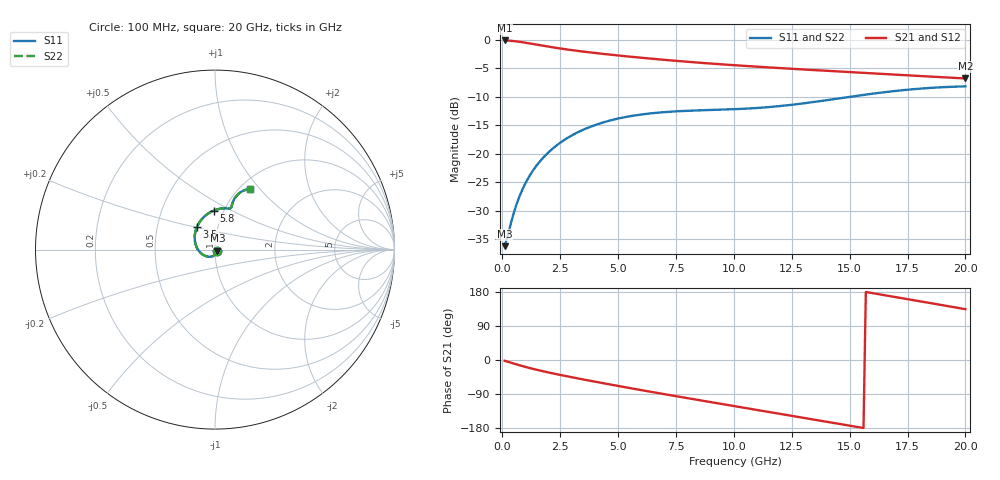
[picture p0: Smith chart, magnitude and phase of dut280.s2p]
! Created with skrf 1.9.0 (http://scikit-rf.org).
# GHz S RI R 50.0
!freq ReS11 ImS11 ReS21 ImS21 ReS12 ImS12 ReS22 ImS22
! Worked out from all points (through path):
!   200 points, 100 MHz to 20 GHz, reference 50 ohm
!   highest |S21| = -0.13 dB at 100 MHz (marker M1); lowest = -6.8 dB at 20 GHz (marker M2)
!   group delay of S21, straight-line fit = 29.9 ps
!   lowest |S11| = -36.3 dB at 100 MHz (marker M3), VSWR 1.03, Z = 51.4 - j0.694 ohm
!   |S11| at or under -10 dB: start of sweep to 15.06 GHz
!   |S22| runs from -36.3 to -8.2 dB; largest |S21 - S12| = 2.6e-15
!   S11 on the Smith chart (normalised r, x): 100 MHz: 1.03, -0.01; 3.5 GHz: 0.79, +0.21; 5.8 GHz: 0.90, +0.41; 20 GHz: 1.12, +0.89
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0.1  0.0138 -0.00675  0.9844 -0.0335  0.9844 -0.0335  0.0138 -0.00675
0.2  0.0119 -0.0134  0.981 -0.0666  0.981 -0.0666  0.0119 -0.0134
0.5  -0.00117 -0.0303  0.9588 -0.1613  0.9588 -0.1613  -0.00117 -0.0303
0.7  -0.0147 -0.0372  0.936 -0.2188  0.936 -0.2188  -0.0147 -0.0372
1  -0.0386 -0.0391  0.8936 -0.2951  0.8936 -0.2951  -0.0386 -0.0391
1.3  -0.0624 -0.0312  0.8456 -0.3595  0.8456 -0.3595  -0.0624 -0.0312
1.7  -0.0885 -0.00923  0.7788 -0.4295  0.7788 -0.4295  -0.0885 -0.00923
2.2  -0.1079 0.0285  0.6957 -0.4978  0.6957 -0.4978  -0.1079 0.0285
2.8  -0.1128 0.0769  0.5992 -0.5605  0.5992 -0.5605  -0.1128 0.0769
3.5  -0.1 0.1276  0.4903 -0.6146  0.4903 -0.6146  -0.1 0.1276
4.6  -0.059 0.1847  0.3249 -0.6664  0.3249 -0.6664  -0.059 0.1847
5.8  -0.00826 0.2173  0.1542 -0.6832  0.1542 -0.6832  -0.00826 0.2173
6.8  0.0281 0.2278  0.0228 -0.6705  0.0228 -0.6705  0.0281 0.2278
8.4  0.0674 0.2295  -0.1621 -0.6094  -0.1621 -0.6094  0.0674 0.2295
10.1  0.0862 0.2301  -0.32 -0.5023  -0.32 -0.5023  0.0862 0.2301
11.8  0.0926 0.2419  -0.434 -0.3638  -0.434 -0.3638  0.0926 0.2419
13.4  0.0994 0.2648  -0.4974 -0.2154  -0.4974 -0.2154  0.0994 0.2648
15  0.1149 0.2932  -0.5158 -0.0613  -0.5158 -0.0613  0.1149 0.2932
15.8  0.1266 0.3067  -0.5085 0.0139  -0.5085 0.0139  0.1266 0.3067
16.7  0.1421 0.3195  -0.4877 0.0946  -0.4877 0.0946  0.1421 0.3195
18.3  0.1721 0.3334  -0.4217 0.2223  -0.4217 0.2223  0.1721 0.3334
20  0.1977 0.3354  -0.3177 0.328  -0.3177 0.328  0.1977 0.3354
